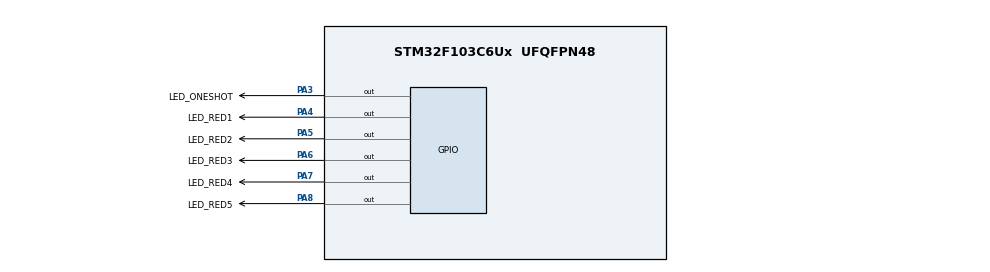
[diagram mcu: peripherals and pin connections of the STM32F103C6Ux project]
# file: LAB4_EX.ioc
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Mcu.Family=STM32F1
Mcu.Name=STM32F103C6Ux
Mcu.Package=UFQFPN48
NVIC.PriorityGroup=NVIC_PRIORITYGROUP_4
NVIC.TIM2_IRQn=true\:0\:0\:false\:false\:true\:true\:true
PA3.GPIO_Label=LED_ONESHOT
PA3.Signal=GPIO_Output
PA4.GPIO_Label=LED_RED1
PA4.Signal=GPIO_Output
PA5.GPIO_Label=LED_RED2
PA5.Signal=GPIO_Output
PA6.GPIO_Label=LED_RED3
PA6.Signal=GPIO_Output
PA7.GPIO_Label=LED_RED4
PA7.Signal=GPIO_Output
PA8.GPIO_Label=LED_RED5
PA8.Signal=GPIO_Output
ProjectManager.HeapSize=0x200
ProjectManager.StackSize=0x400
ProjectManager.TargetToolchain=STM32CubeIDE
RCC.APB1Freq_Value=8000000
RCC.APB2Freq_Value=8000000
TIM2.Period=9
TIM2.Prescaler=7999
VP_SYS_VS_ND.Mode=No_Debug
VP_TIM2_VS_ClockSourceINT.Mode=Internal
board=custom

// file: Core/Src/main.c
/* USER CODE BEGIN Header */
/**
  ******************************************************************************
  * @file           : main.c
  * @brief          : Main program body
  ******************************************************************************
  * @attention
  *
  * <h2><center>&copy; Copyright (c) 2023 STMicroelectronics.
  * All rights reserved.</center></h2>
  *
  * This software component is licensed by ST under BSD 3-Clause license,
  * the "License"; You may not use this file except in compliance with the
  * License. You may obtain a copy of the License at:
  *                        opensource.org/licenses/BSD-3-Clause
  *
  ******************************************************************************
  */
/* USER CODE END Header */
#include "main.h"

/* USER CODE BEGIN Includes */
#include "scheduler.h"
/* USER CODE END Includes */

TIM_HandleTypeDef htim2;

void SystemClock_Config(void);
static void MX_GPIO_Init(void);
static void MX_TIM2_Init(void);

/* USER CODE BEGIN 0 */
void oneshotTask()
{
	HAL_GPIO_TogglePin(LED_ONESHOT_GPIO_Port, LED_ONESHOT_Pin);
}
void Task1(){
	HAL_GPIO_TogglePin(LED_RED1_GPIO_Port, LED_RED1_Pin);
}

void Task2(){
	HAL_GPIO_TogglePin(LED_RED2_GPIO_Port, LED_RED2_Pin);
}

void Task3(){
	HAL_GPIO_TogglePin(LED_RED3_GPIO_Port, LED_RED3_Pin);
}

void Task4(){
	HAL_GPIO_TogglePin(LED_RED4_GPIO_Port, LED_RED4_Pin);
}

void Task5(){
	HAL_GPIO_TogglePin(LED_RED5_GPIO_Port, LED_RED5_Pin);
}
/* USER CODE END 0 */

int main(void)
{

  /* MCU Configuration--------------------------------------------------------*/

  /* Reset of all peripherals, Initializes the Flash interface and the Systick. */
  HAL_Init();

  /* Configure the system clock */
  SystemClock_Config();

  /* Initialize all configured peripherals */
  MX_GPIO_Init();
  MX_TIM2_Init();
  /* USER CODE BEGIN 2 */
  HAL_TIM_Base_Start_IT(&htim2);
  /* USER CODE END 2 */

  /* Infinite loop */
  /* USER CODE BEGIN WHILE */
  SCH_Init();
  SCH_Add_Task(oneshotTask, 5000, 0);
  SCH_Add_Task(Task1, 1000, 500);
  SCH_Add_Task(Task2, 1010, 1000);
  SCH_Add_Task(Task3, 1020, 1500);
  SCH_Add_Task(Task4, 1030, 2000);
  SCH_Add_Task(Task5, 1040, 2500);

  while (1)
  {
	  SCH_Dispatch_Tasks();
    /* USER CODE END WHILE */

  }
}

void SystemClock_Config(void)
{
  RCC_OscInitTypeDef RCC_OscInitStruct = {0};
  RCC_ClkInitTypeDef RCC_ClkInitStruct = {0};

  /** Initializes the RCC Oscillators according to the specified parameters
  * in the RCC_OscInitTypeDef structure.
  */
  RCC_OscInitStruct.OscillatorType = RCC_OSCILLATORTYPE_HSI;
  RCC_OscInitStruct.HSIState = RCC_HSI_ON;
  RCC_OscInitStruct.HSICalibrationValue = RCC_HSICALIBRATION_DEFAULT;
  RCC_OscInitStruct.PLL.PLLState = RCC_PLL_NONE;
  if (HAL_RCC_OscConfig(&RCC_OscInitStruct) != HAL_OK)
  {
    Error_Handler();
  }
  /** Initializes the CPU, AHB and APB buses clocks
  */
  RCC_ClkInitStruct.ClockType = RCC_CLOCKTYPE_HCLK|RCC_CLOCKTYPE_SYSCLK
                              |RCC_CLOCKTYPE_PCLK1|RCC_CLOCKTYPE_PCLK2;
  RCC_ClkInitStruct.SYSCLKSource = RCC_SYSCLKSOURCE_HSI;
  RCC_ClkInitStruct.AHBCLKDivider = RCC_SYSCLK_DIV1;
  RCC_ClkInitStruct.APB1CLKDivider = RCC_HCLK_DIV1;
  RCC_ClkInitStruct.APB2CLKDivider = RCC_HCLK_DIV1;

  if (HAL_RCC_ClockConfig(&RCC_ClkInitStruct, FLASH_LATENCY_0) != HAL_OK)
  {
    Error_Handler();
  }
}

static void MX_TIM2_Init(void)
{

  TIM_ClockConfigTypeDef sClockSourceConfig = {0};
  TIM_MasterConfigTypeDef sMasterConfig = {0};

  htim2.Instance = TIM2;
  htim2.Init.Prescaler = 7999;
  htim2.Init.CounterMode = TIM_COUNTERMODE_UP;
  htim2.Init.Period = 9;
  htim2.Init.ClockDivision = TIM_CLOCKDIVISION_DIV1;
  htim2.Init.AutoReloadPreload = TIM_AUTORELOAD_PRELOAD_DISABLE;
  if (HAL_TIM_Base_Init(&htim2) != HAL_OK)
  {
    Error_Handler();
  }
  sClockSourceConfig.ClockSource = TIM_CLOCKSOURCE_INTERNAL;
  if (HAL_TIM_ConfigClockSource(&htim2, &sClockSourceConfig) != HAL_OK)
  {
    Error_Handler();
  }
  sMasterConfig.MasterOutputTrigger = TIM_TRGO_RESET;
  sMasterConfig.MasterSlaveMode = TIM_MASTERSLAVEMODE_DISABLE;
  if (HAL_TIMEx_MasterConfigSynchronization(&htim2, &sMasterConfig) != HAL_OK)
  {
    Error_Handler();
  }
  /* USER CODE BEGIN TIM2_Init 2 */
  TICK = ((1 + (float)htim2.Init.Prescaler) * (1 + (float)htim2.Init.Period)) / 8000000 * 1000;
  /* USER CODE END TIM2_Init 2 */

}

static void MX_GPIO_Init(void)
{
  GPIO_InitTypeDef GPIO_InitStruct = {0};

  /* GPIO Ports Clock Enable */
  __HAL_RCC_GPIOA_CLK_ENABLE();

  /*Configure GPIO pin Output Level */
  HAL_GPIO_WritePin(GPIOA, LED_ONESHOT_Pin|LED_RED1_Pin|LED_RED2_Pin|LED_RED3_Pin
                          |LED_RED4_Pin|LED_RED5_Pin, GPIO_PIN_RESET);

  /*Configure GPIO pins : LED_ONESHOT_Pin LED_RED1_Pin LED_RED2_Pin LED_RED3_Pin
                           LED_RED4_Pin LED_RED5_Pin */
  GPIO_InitStruct.Pin = LED_ONESHOT_Pin|LED_RED1_Pin|LED_RED2_Pin|LED_RED3_Pin
                          |LED_RED4_Pin|LED_RED5_Pin;
  GPIO_InitStruct.Mode = GPIO_MODE_OUTPUT_PP;
  GPIO_InitStruct.Pull = GPIO_NOPULL;
  GPIO_InitStruct.Speed = GPIO_SPEED_FREQ_LOW;
  HAL_GPIO_Init(GPIOA, &GPIO_InitStruct);

}

/* USER CODE BEGIN 4 */
void HAL_TIM_PeriodElapsedCallback ( TIM_HandleTypeDef * htim )
{
	SCH_Update();
}

/* USER CODE END 4 */

void Error_Handler(void)
{
  __disable_irq();
  while (1)
  {
  }
}

/************************ (C) COPYRIGHT STMicroelectronics *****END OF FILE****/
